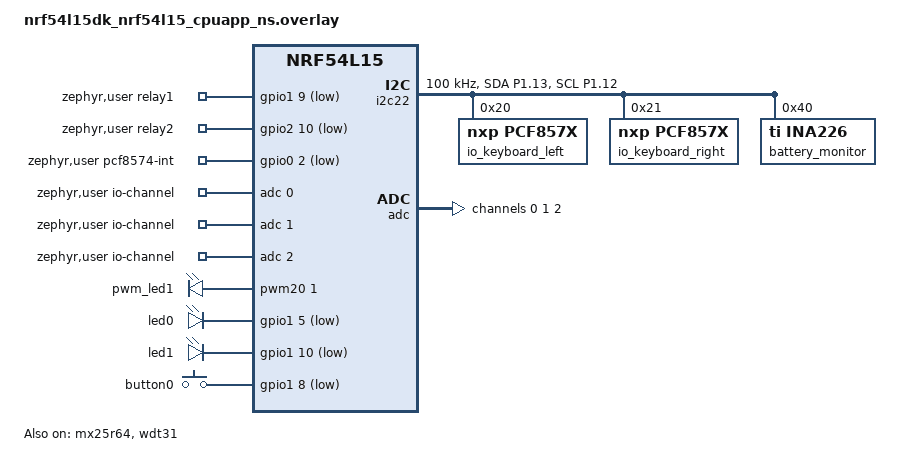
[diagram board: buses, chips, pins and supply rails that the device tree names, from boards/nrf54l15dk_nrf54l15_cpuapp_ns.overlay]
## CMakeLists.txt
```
#
# Copyright (c) 2023 Nordic Semiconductor
#
# SPDX-License-Identifier: LicenseRef-Nordic-5-Clause
#
cmake_minimum_required(VERSION 3.20.0)

find_package(Zephyr REQUIRED HINTS $ENV{ZEPHYR_BASE})
project(NONE)

# NORDIC SDK APP START
target_sources(app PRIVATE
  src/main.c
  src/battery_monitor.c
)

# NORDIC SDK APP END
```

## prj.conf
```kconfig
#
# Copyright (c) 2023 Nordic Semiconductor
#
# SPDX-License-Identifier: LicenseRef-Nordic-5-Clause
#
CONFIG_NCS_SAMPLES_DEFAULTS=y

CONFIG_BT=y
CONFIG_BT_PERIPHERAL=y
CONFIG_BT_DEVICE_NAME="Nordic_Status"

# Enable the LBS service
CONFIG_BT_NSMS=y
CONFIG_DK_LIBRARY=y

CONFIG_ADC=y

CONFIG_I2C=y
CONFIG_GPIO_PCF857X=y

# INA226 lead-acid battery charge monitor (current/voltage/power)
CONFIG_SENSOR=y
CONFIG_INA226=y

CONFIG_SYSTEM_WORKQUEUE_STACK_SIZE=2048

CONFIG_BT_FIXED_PASSKEY=y
```

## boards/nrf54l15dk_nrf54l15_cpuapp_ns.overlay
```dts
/*
 * Copyright (c) 2026 Nordic Semiconductor ASA
 *
 * SPDX-License-Identifier: LicenseRef-Nordic-5-Clause
 */

 / {
	aliases {
		// Configure PWM module for led1 (LED2 on the board)
		pwm-led1 = &pwm_led1;

		// Use watchdog wdt31 as the application watchdog
		watchdog0 = &wdt31;

		/* Two PCF8574 share INT# on P0.02 */
		pcf8574a-left = &io_keyboard_left;
		pcf8574a-right = &io_keyboard_right;

		/* INA226 lead-acid battery charge monitor on i2c22 */
		battery-monitor = &battery_monitor;
	};

	chosen {
		nordic,pm-ext-flash = &mx25r64;
	};

	/* Relay control pins - use zephyr,user node for custom GPIO configuration */
	zephyr,user {
		relay1-gpios = <&gpio1 9 GPIO_ACTIVE_LOW>;
		relay2-gpios = <&gpio2 10 GPIO_ACTIVE_LOW>;
	};

	pwmleds {
		compatible = "pwm-leds";
		pwm_led1: pwm_led_1 {
			pwms = <&pwm20 1 PWM_MSEC(20) PWM_POLARITY_NORMAL>;
		};
	};
};

// restore full RRAM and SRAM space - by default some parts are dedicated to FLRP
&cpuapp_rram {
	reg = <0x0 DT_SIZE_K(1524)>;
};

&cpuapp_sram {
	reg = <0x20000000 DT_SIZE_K(256)>;
	ranges = <0x0 0x20000000  0x40000>;
};

// TODO: re-enable HWFC once it's fixed
&uart20 {
	/delete-property/ hw-flow-control;
};

&mx25r64 {
	status = "okay";
};

&pwm20 {
	status = "disabled";
	pinctrl-0 = <&pwm_default>;
	pinctrl-1 = <&pwm_sleep>;
	pinctrl-names = "default", "sleep";
};

&pinctrl {
	pwm_default: pwm_default {
		group1 {
			psels = <NRF_PSEL(PWM_OUT1, 1, 10)>;
		};
	};
	pwm_sleep: pwm_sleep {
		group1 {
			psels = <NRF_PSEL(PWM_OUT1, 1, 10)>;
			low-power-enable;
		};
	};

	uart20_default: uart20_default {
		group1 {
			psels = <NRF_PSEL(UART_TX, 1, 4)>;
		};

		group2 {
			psels = <NRF_PSEL(UART_RX, 1, 5)>;
			bias-pull-up;
		};
	};

	uart20_sleep: uart20_sleep {
		group1 {
			psels = <NRF_PSEL(UART_TX, 1, 4)>,
				<NRF_PSEL(UART_RX, 1, 5)>;
			low-power-enable;
		};
	};
};

&wdt31 {
	status = "okay";
};

// Change IRQ ids to handle button interrupts.

// The default values for nRF54L15 are 219 and 269,
// but with TF-M they are reserved for the secure domain
// (218 and 268 are reserved for the non-secure domain).
&gpiote20 {
	interrupts = <218 NRF_DEFAULT_IRQ_PRIORITY>;
};

&gpiote30 {
	interrupts = <268 NRF_DEFAULT_IRQ_PRIORITY>;
};

&clock {
	status = "okay";
};


&led0 {
	gpios = <&gpio1 5 GPIO_ACTIVE_LOW>;
};
&led1 {
	gpios = <&gpio1 10 GPIO_ACTIVE_LOW>; /* P1.10 — avoid P1.07 (AIN3 / ADC CH1) */
};
/* Disable led2 and led3 since they are now used as relay control pins */
&led2 {
	status = "disabled";
};

&led3 {
	status = "disabled";
};

&button0 {
	gpios = <&gpio1 8 GPIO_ACTIVE_LOW>;
	status = "okay";
};


&button1 {
	status = "disabled";
};

&button2{
	status = "disabled";
};

&button3 {
	status = "disabled";
};

&pinctrl {
	i2c22_default: i2c22_default {
		group1 {
			psels = <NRF_PSEL(TWIM_SDA, 1, 13)>,
				<NRF_PSEL(TWIM_SCL, 1, 12)>;
			bias-pull-up;
		};
	};
	i2c22_sleep: i2c22_sleep {
		group1 {
			psels = <NRF_PSEL(TWIM_SDA, 1, 13)>,
				<NRF_PSEL(TWIM_SCL, 1, 12)>;
			low-power-enable;
			bias-pull-up;
		};
	};
};


&i2c22 {
	status = "okay";

	pinctrl-0 = <&i2c22_default>;
	pinctrl-1 = <&i2c22_sleep>;
	pinctrl-names = "default", "sleep";

	/*
	 * I2C addresses for PCF8574:
	 * - Left  : A2/A1/A0 = 000 -> 0x20
	 * - Right : A2/A1/A0 = 001 -> 0x21 (A0 tied to 3.3V)
	 */
	io_keyboard_left: io_keyboard_left@20 {
		compatible = "nxp,pcf857x";
		reg = <0x20>;
		gpio-controller;
		#gpio-cells = <2>;
		ngpios = <8>;
	};

	io_keyboard_right: io_keyboard_right@21 {
		compatible = "nxp,pcf857x";
		reg = <0x21>;
		gpio-controller;
		#gpio-cells = <2>;
		ngpios = <8>;
	};

	/*
	 * INA226 high-side current/power monitor for lead-acid battery charging.
	 * Default I2C address 0x40 (A0=A1=GND).
	 *
	 * Hardware: Rshunt = 20 mΩ.
	 *   Max shunt sense ±81.92 mV → Imax ≈ 81.92 mV / 20 mΩ ≈ ±4.1 A.
	 *   current-lsb = Imax / 2^15 ≈ 125 µA/LSB.
	 * Current sign depends on shunt wiring (IN+ vs IN-); positive is treated
	 * as charging in firmware. Swap IN+/IN- (or flip in code) if inverted.
	 */
	battery_monitor: ina226@40 {
		compatible = "ti,ina226";
		reg = <0x40>;
		current-lsb-microamps = <125>;
		rshunt-micro-ohms = <20000>;
		avg-count = <16>;
		vbus-conversion-time-us = <1100>;
		vshunt-conversion-time-us = <1100>;
		operating-mode = "Shunt and Bus, Continuous";
	};

	clock-frequency = <I2C_BITRATE_STANDARD>;
};



/ {
	zephyr,user {
		io-channels = <&adc 0>, <&adc 1>, <&adc 2>;
		/* Both PCF8574 INT# wired together -> MCU P0.02 (open-drain, active low) */
		pcf8574-int-gpios = <&gpio0 2 (GPIO_ACTIVE_LOW | GPIO_PULL_UP)>;
	};
};

/*
 * SAADC pin map (nRF54L15): AIN2=P1.06, AIN3=P1.07, AIN4=P1.11, AIN7=P1.14.
 * I2C22 uses P1.12 (AIN5) and P1.13 (AIN6) — do not use those for ADC.
 */
&adc {
	#address-cells = <1>;
	#size-cells = <0>;

	channel@0 {
		reg = <0>;
		zephyr,gain = "ADC_GAIN_1";
		zephyr,reference = "ADC_REF_INTERNAL";
		zephyr,acquisition-time = <ADC_ACQ_TIME_DEFAULT>;
		zephyr,input-positive = <NRF_SAADC_AIN4>; /* P1.11 */
		zephyr,resolution = <12>;
	};

	channel@1 {
		reg = <1>;
		zephyr,gain = "ADC_GAIN_1";
		zephyr,reference = "ADC_REF_INTERNAL";
		zephyr,acquisition-time = <ADC_ACQ_TIME_DEFAULT>;
		zephyr,input-positive = <NRF_SAADC_AIN2>; /* P1.06 */
		zephyr,input-negative = <NRF_SAADC_AIN3>; /* P1.07 */
		zephyr,resolution = <12>;
	};

	channel@2 {
		reg = <2>;
		zephyr,gain = "ADC_GAIN_1";
		zephyr,reference = "ADC_REF_INTERNAL";
		zephyr,acquisition-time = <ADC_ACQ_TIME_DEFAULT>;
		zephyr,input-positive = <NRF_SAADC_AIN7>; /* P1.14 */
		zephyr,resolution = <12>;
	};
};
```

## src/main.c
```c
/*
 * Copyright (c) 2023 Nordic Semiconductor ASA
 *
 * SPDX-License-Identifier: LicenseRef-Nordic-5-Clause
 */

#include <zephyr/types.h>
#include <stddef.h>
#include <string.h>
#include <errno.h>
#include <stdio.h>
#include <zephyr/sys/printk.h>
#include <zephyr/sys/byteorder.h>
#include <zephyr/kernel.h>
#include <zephyr/drivers/gpio.h>
#include <zephyr/drivers/i2c.h>
#include <zephyr/drivers/adc.h>
#include <zephyr/devicetree.h>
#include <soc.h>

#include <zephyr/bluetooth/bluetooth.h>
#include <zephyr/bluetooth/hci.h>
#include <zephyr/bluetooth/conn.h>
#include <zephyr/bluetooth/uuid.h>
#include <zephyr/bluetooth/gatt.h>

#include <zephyr/settings/settings.h>

#include <dk_buttons_and_leds.h>

#include "battery_monitor.h"

#define DEVICE_NAME             CONFIG_BT_DEVICE_NAME
#define DEVICE_NAME_LEN         (sizeof(DEVICE_NAME) - 1)

#define RUN_STATUS_LED          DK_LED1
#define CON_STATUS_LED          DK_LED2
#define RUN_LED_BLINK_INTERVAL  1000
#define ADC_SAMPLE_INTERVAL_MS  1000
#define BATTERY_SAMPLE_INTERVAL_MS 1000
#define FIXED_PASSKEY           123456

#define STATUS1_BUTTON          DK_BTN1_MSK
#define STATUS2_BUTTON          DK_BTN2_MSK

/* Custom service UUID — same base as NSMS but different instance IDs */
#define MY_SERVICE_UUID_VAL \
	BT_UUID_128_ENCODE(0x57a70000, 0x9350, 0x11ed, 0xa1eb, 0x0242ac120002)

/* Single status characteristic UUID */
#define MY_STATUS_CHAR_UUID_VAL \
	BT_UUID_128_ENCODE(0x57a70006, 0x9350, 0x11ed, 0xa1eb, 0x0242ac120002)

/* Advertising data — use custom service UUID */
static const struct bt_uuid_128 adv_uuid = BT_UUID_INIT_128(MY_SERVICE_UUID_VAL);

/* Status buffer and mutex for the single characteristic */
static char status_buf[256];
static K_MUTEX_DEFINE(status_mtx);

/* Custom GATT service with one characteristic for all status updates */
static ssize_t my_status_read(struct bt_conn *conn,
			      const struct bt_gatt_attr *attr,
			      void *buf, uint16_t len, uint16_t offset)
{
	ssize_t ret;

	k_mutex_lock(&status_mtx, K_MSEC(100));
	ret = bt_gatt_attr_read(conn, attr, buf, len, offset,
				status_buf, strlen(status_buf));
	k_mutex_unlock(&status_mtx);
	return ret;
}

BT_GATT_SERVICE_DEFINE(my_svc,
	BT_GATT_PRIMARY_SERVICE(BT_UUID_DECLARE_128(MY_SERVICE_UUID_VAL)),
	BT_GATT_CHARACTERISTIC(BT_UUID_DECLARE_128(MY_STATUS_CHAR_UUID_VAL),
			       BT_GATT_CHRC_READ | BT_GATT_CHRC_NOTIFY,
			       BT_GATT_PERM_READ,
			       my_status_read, NULL,
			       (void *)status_buf),
	BT_GATT_CCC(NULL, BT_GATT_PERM_READ | BT_GATT_PERM_WRITE),
);

/* Send a status notification to all connected peers */
static void send_status_update(const char *str)
{
	k_mutex_lock(&status_mtx, K_MSEC(100));
	strncpy(status_buf, str, sizeof(status_buf) - 1);
	status_buf[sizeof(status_buf) - 1] = '\0';
	k_mutex_unlock(&status_mtx);

	bt_gatt_notify(NULL, &my_svc.attrs[1], str, strlen(str));
}

static struct k_work adv_work;

#if DT_NODE_HAS_PROP(DT_PATH(zephyr_user), io_channels)
#define ADC_STATUS_ENABLED 1
#define ADC_CHANNEL_COUNT 3
static const struct adc_dt_spec adc_channels[ADC_CHANNEL_COUNT] = {
	ADC_DT_SPEC_GET_BY_IDX(DT_PATH(zephyr_user), 0),
	ADC_DT_SPEC_GET_BY_IDX(DT_PATH(zephyr_user), 1),
	ADC_DT_SPEC_GET_BY_IDX(DT_PATH(zephyr_user), 2),
};
static struct k_work_delayable adc_work;
static int16_t adc_samples[ADC_CHANNEL_COUNT];
static char adc_status_buf[ADC_CHANNEL_COUNT][32];
#else
#define ADC_STATUS_ENABLED 0
#endif

static const struct bt_data ad[] = {
	BT_DATA_BYTES(BT_DATA_FLAGS, (BT_LE_AD_GENERAL | BT_LE_AD_NO_BREDR)),
	BT_DATA(BT_DATA_NAME_COMPLETE, DEVICE_NAME, DEVICE_NAME_LEN),
};

static const struct bt_data sd[] = {
	BT_DATA_BYTES(BT_DATA_UUID128_ALL, MY_SERVICE_UUID_VAL),
};

static void adv_work_handler(struct k_work *work)
{
	int err = bt_le_adv_start(BT_LE_ADV_CONN_FAST_2, ad, ARRAY_SIZE(ad), sd, ARRAY_SIZE(sd));

	if (err) {
		printk("Advertising failed to start (err %d)\n", err);
		return;
	}

	printk("Advertising successfully started\n");
}

static void advertising_start(void)
{
	k_work_submit(&adv_work);
}

static void connected(struct bt_conn *conn, uint8_t err)
{
	if (err) {
		printk("Connection failed, err 0x%02x %s\n", err, bt_hci_err_to_str(err));
		return;
	}

	printk("Connected\n");
	dk_set_led_on(CON_STATUS_LED);
}

static void disconnected(struct bt_conn *conn, uint8_t reason)
{
	printk("Disconnected, reason 0x%02x %s\n", reason, bt_hci_err_to_str(reason));
	dk_set_led_off(CON_STATUS_LED);
}

static void recycled_cb(void)
{
	printk("Connection object available from previous conn. Disconnect is complete!\n");
	advertising_start();
}

BT_CONN_CB_DEFINE(conn_callbacks) = {
	.connected    = connected,
	.disconnected = disconnected,
	.recycled     = recycled_cb,
};

static void button_changed(uint32_t button_state, uint32_t has_changed)
{
	/* Send combined button state in one notification */
	char msg[64];
	const char *btn1 = (button_state & STATUS1_BUTTON) ? "Pressed" : "Released";
	const char *btn2 = (button_state & STATUS2_BUTTON) ? "Pressed" : "Released";
	snprintf(msg, sizeof(msg), "BTN1 %s\nBTN2 %s", btn1, btn2);
	send_status_update(msg);
}

static int init_button(void)
{
	int err;

	err = dk_buttons_init(button_changed);
	if (err) {
		printk("Cannot init buttons (err: %d)\n", err);
	}

	return err;
}

#if DT_HAS_ALIAS(pcf8574a_left) && DT_HAS_ALIAS(pcf8574a_right)
#define PCF8574_INT_ENABLED 1
#define PCF_DEV_COUNT 2
enum {
	PCF_LEFT = 0,
	PCF_RIGHT = 1,
};

static const struct device *const pcf_devs[PCF_DEV_COUNT] = {
	DEVICE_DT_GET(DT_ALIAS(pcf8574a_left)),
	DEVICE_DT_GET(DT_ALIAS(pcf8574a_right)),
};
static const struct i2c_dt_spec pcf_i2c[PCF_DEV_COUNT] = {
	I2C_DT_SPEC_GET(DT_ALIAS(pcf8574a_left)),
	I2C_DT_SPEC_GET(DT_ALIAS(pcf8574a_right)),
};
static const char *const pcf_names[PCF_DEV_COUNT] = {
	"PCF_L",
	"PCF_R",
};
/* Shared INT# from both PCF8574 chips -> P0.02 (active low, open-drain). */
static const struct gpio_dt_spec pcf_shared_int =
	GPIO_DT_SPEC_GET(DT_PATH(zephyr_user), pcf8574_int_gpios);
static struct gpio_callback pcf_int_cb;
static struct k_work pcf_shared_work;
static uint8_t pcf_last_state[PCF_DEV_COUNT];
static bool pcf_last_valid[PCF_DEV_COUNT];

/*
 * PCF8574 is quasi-bidirectional: write 0xFF to release all pins (input-high).
 * Use I2C directly so pcf857x driver keeps pins as "input" and gpio_port_get_raw()
 * still works (it returns -EOPNOTSUPP if pins are marked output in the driver).
 */
static int pcf8574_preset_inputs(const struct i2c_dt_spec *i2c, const char *name)
{
	uint8_t val = 0xFF;
	int err;

	if (!device_is_ready(i2c->bus)) {
		printk("%s I2C bus not ready\n", name);
		return -ENODEV;
	}

	err = i2c_write_dt(i2c, &val, 1);
	if (err) {
		printk("%s preset 0xFF failed (err %d)\n", name, err);
	}

	return err;
}

static void pcf8574a_work_handler(struct k_work *work)
{
	ARG_UNUSED(work);
	gpio_port_value_t port_val;
	char msg[128];
	char *p = msg;
	bool has_change = false;
	int err;

	for (size_t i = 0; i < PCF_DEV_COUNT; i++) {
		uint8_t cur_state;
		uint8_t changed_mask;

		err = gpio_port_get_raw(pcf_devs[i], &port_val);
		if (err) {
			printk("%s read failed (err %d)\n", pcf_names[i], err);
			continue;
		}

		cur_state = (uint8_t)port_val;
		if (!pcf_last_valid[i]) {
			pcf_last_state[i] = cur_state;
			pcf_last_valid[i] = true;
			continue;
		}

		changed_mask = cur_state ^ pcf_last_state[i];
		if (changed_mask == 0U) {
			continue;
		}

		pcf_last_state[i] = cur_state;
		has_change = true;
		p += snprintf(p, sizeof(msg) - (size_t)(p - msg),
			      "%s 0x%02x mask 0x%02x\n", pcf_names[i], cur_state, changed_mask);
	}
	if (has_change) {
		printk("%s", msg);
		send_status_update(msg);
	}
}

static void pcf_int_mcu_handler(const struct device *port, struct gpio_callback *cb,
				uint32_t pins)
{
	ARG_UNUSED(port);
	ARG_UNUSED(cb);
	ARG_UNUSED(pins);

	k_work_submit(&pcf_shared_work);
}

static int init_pcf8574_int(void)
{
	int err;
	gpio_port_value_t port_val;

	k_work_init(&pcf_shared_work, pcf8574a_work_handler);

	for (size_t i = 0; i < PCF_DEV_COUNT; i++) {
		pcf_last_valid[i] = false;

		if (!device_is_ready(pcf_devs[i])) {
			printk("%s device not ready\n", pcf_names[i]);
			return -ENODEV;
		}

		err = pcf8574_preset_inputs(&pcf_i2c[i], pcf_names[i]);
		if (err) {
			return err;
		}

		err = gpio_port_get_raw(pcf_devs[i], &port_val);
		if (err) {
			printk("%s initial read failed (err %d)\n", pcf_names[i], err);
			return err;
		}

		pcf_last_state[i] = (uint8_t)port_val;
		pcf_last_valid[i] = true;
		printk("%s init OK, port=0x%02x\n", pcf_names[i], pcf_last_state[i]);
	}

	if (!gpio_is_ready_dt(&pcf_shared_int)) {
		printk("PCF8574 shared INT GPIO not ready\n");
		return -ENODEV;
	}

	err = gpio_pin_configure_dt(&pcf_shared_int, GPIO_INPUT);
	if (err) {
		printk("PCF8574 INT configure failed (err %d)\n", err);
		return err;
	}

	/* INT# is active-low open-drain: trigger on falling edge. */
	err = gpio_pin_interrupt_configure_dt(&pcf_shared_int, GPIO_INT_EDGE_FALLING);
	if (err) {
		printk("PCF8574 INT IRQ configure failed (err %d)\n", err);
		return err;
	}

	gpio_init_callback(&pcf_int_cb, pcf_int_mcu_handler, BIT(pcf_shared_int.pin));
	err = gpio_add_callback(pcf_shared_int.port, &pcf_int_cb);
	if (err) {
		printk("PCF8574 INT callback add failed (err %d)\n", err);
		return err;
	}

	printk("PCF8574 shared INT ready on %s pin %u\n",
	       pcf_shared_int.port->name, pcf_shared_int.pin);

	return 0;
}
#else
static int init_pcf8574_int(void)
{
	return 0;
}
#endif

#if ADC_STATUS_ENABLED
static void update_adc_status(size_t index)
{
	const struct adc_dt_spec *adc_channel = &adc_channels[index];
	struct adc_sequence sequence = { 0 };
	int32_t sample_mv;
	int err;

	err = adc_sequence_init_dt(adc_channel, &sequence);
	if (err) {
		snprintk(adc_status_buf[index], sizeof(adc_status_buf[index]),
			 "CH%u init err %d", adc_channel->channel_id, err);
		return;
	}

	sequence.buffer = &adc_samples[index];
	sequence.buffer_size = sizeof(adc_samples[index]);

	err = adc_read_dt(adc_channel, &sequence);
	if (err) {
		snprintk(adc_status_buf[index], sizeof(adc_status_buf[index]),
			 "CH%u read err %d", adc_channel->channel_id, err);
		return;
	}

	sample_mv = adc_samples[index];
	err = adc_raw_to_millivolts_dt(adc_channel, &sample_mv);
	if (err) {
		snprintk(adc_status_buf[index], sizeof(adc_status_buf[index]),
			 "CH%u raw %d", adc_channel->channel_id, adc_samples[index]);
	} else {
		snprintk(adc_status_buf[index], sizeof(adc_status_buf[index]),
			 "CH%u %d mV", adc_channel->channel_id, sample_mv);
	}
}

static void adc_work_handler(struct k_work *work)
{
	char msg[128];
	char *p = msg;

	for (size_t i = 0; i < ADC_CHANNEL_COUNT; i++) {
		update_adc_status(i);
		p += snprintf(p, sizeof(msg) - (p - msg), "%s\n", adc_status_buf[i]);
	}

	send_status_update(msg);
	k_work_schedule(&adc_work, K_MSEC(ADC_SAMPLE_INTERVAL_MS));
}

static int init_adc(void)
{
	int err;

	if (!adc_is_ready_dt(&adc_channels[0])) {
		printk("ADC controller device not ready\n");
		return -ENODEV;
	}

	for (size_t i = 0; i < ADC_CHANNEL_COUNT; i++) {
		err = adc_channel_setup_dt(&adc_channels[i]);
		if (err) {
			printk("Failed to setup ADC channel %u (err %d)\n",
			       adc_channels[i].channel_id, err);
			return err;
		}

		printk("ADC channel %u initialized\n", adc_channels[i].channel_id);
	}

	k_work_init_delayable(&adc_work, adc_work_handler);

	return 0;
}

static void adc_sampling_start(void)
{
	k_work_schedule(&adc_work, K_NO_WAIT);
}
#else
static int init_adc(void)
{
	printk("No ADC channel configured in devicetree\n");
	return 0;
}

static void adc_sampling_start(void)
{
}
#endif

/*
 * INA226 battery monitor: sample voltage/current/power once a second and push
 * the result as text lines the mobile app parses:
 *   BAT_V <volts>\nBAT_I <amps>\nBAT_P <watts>\nBAT_ST <charging|discharging|idle>
 */
static struct k_work_delayable battery_work;

static void fmt_milli(char *buf, size_t size, int32_t milli)
{
	int32_t whole = milli / 1000;
	int32_t frac = milli % 1000;

	if (frac < 0) {
		frac = -frac;
	}

	/* Preserve the sign when the integer part rounds to zero (e.g. -0.250). */
	if (milli < 0 && whole == 0) {
		snprintf(buf, size, "-0.%03d", frac);
	} else {
		snprintf(buf, size, "%d.%03d", whole, frac);
	}
}

static void battery_work_handler(struct k_work *work)
{
	struct battery_reading reading;
	char vbuf[16];
	char ibuf[16];
	char pbuf[16];
	char msg[96];
	int err;

	ARG_UNUSED(work);

	err = battery_monitor_read(&reading);
	if (err) {
		printk("Battery read failed (err %d)\n", err);
		k_work_schedule(&battery_work, K_MSEC(BATTERY_SAMPLE_INTERVAL_MS));
		return;
	}

	fmt_milli(vbuf, sizeof(vbuf), reading.voltage_mv);
	fmt_milli(ibuf, sizeof(ibuf), reading.current_ma);
	fmt_milli(pbuf, sizeof(pbuf), reading.power_mw);

	snprintf(msg, sizeof(msg), "BAT_V %s\nBAT_I %s\nBAT_P %s\nBAT_ST %s",
		 vbuf, ibuf, pbuf,
		 battery_state_str(battery_monitor_state(&reading)));

	send_status_update(msg);
	k_work_schedule(&battery_work, K_MSEC(BATTERY_SAMPLE_INTERVAL_MS));
}

static void init_battery_monitor(void)
{
	/*
	 * The battery monitor is optional hardware. If the INA226 is absent or
	 * fails to probe, log it and continue — it must never block Bluetooth.
	 */
	int err = battery_monitor_init();

	if (err || !battery_monitor_available()) {
		printk("Battery monitor unavailable (err %d) — continuing without it\n", err);
		return;
	}

	k_work_init_delayable(&battery_work, battery_work_handler);
}

static void battery_sampling_start(void)
{
	if (battery_monitor_available()) {
		k_work_schedule(&battery_work, K_NO_WAIT);
	}
}

int main(void)
{
	int blink_status = 0;
	int err;

	printk("Starting Bluetooth Peripheral Status sample\n");

	err = dk_leds_init();
	if (err) {
		printk("LEDs init failed (err %d)\n", err);
		return 0;
	}

	err = init_button();
	if (err) {
		printk("Button init failed (err %d)\n", err);
		return 0;
	}

	/*
	 * PCF8574 IO expanders are optional. If they are absent or fail to
	 * probe, log it and continue — they must never block Bluetooth.
	 */
	err = init_pcf8574_int();
	if (err) {
		printk("PCF8574 unavailable (err %d) — continuing without it\n", err);
	}

	err = init_adc();
	if (err) {
		printk("ADC init failed (err %d)\n", err);
		return 0;
	}

	init_battery_monitor();

	err = bt_enable(NULL);
	if (err) {
		printk("Bluetooth init failed (err %d)\n", err);
		return 0;
	}

	printk("Bluetooth initialized\n");

	if (IS_ENABLED(CONFIG_BT_FIXED_PASSKEY)) {
		err = bt_passkey_set(FIXED_PASSKEY);
		if (err) {
			printk("Failed to set fixed passkey (err %d)\n", err);
			return 0;
		}

		printk("Fixed passkey set: %06u\n", FIXED_PASSKEY);
	}

	if (IS_ENABLED(CONFIG_SETTINGS)) {
		settings_load();
	}

	k_work_init(&adv_work, adv_work_handler);
	advertising_start();
	adc_sampling_start();
	battery_sampling_start();

	for (;;) {
		dk_set_led(RUN_STATUS_LED, (++blink_status) % 2);
		k_sleep(K_MSEC(RUN_LED_BLINK_INTERVAL));
	}
}
```

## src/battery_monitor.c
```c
/*
 * Copyright (c) 2026 Nordic Semiconductor ASA
 *
 * SPDX-License-Identifier: LicenseRef-Nordic-5-Clause
 */

#include "battery_monitor.h"

#include <errno.h>
#include <zephyr/device.h>
#include <zephyr/devicetree.h>
#include <zephyr/drivers/sensor.h>
#include <zephyr/sys/printk.h>
#include <zephyr/sys/util.h>

/* Deadband around 0 A so sensor noise does not toggle the charge state. */
#define BATTERY_CHARGE_THRESHOLD_MA 30

#if DT_HAS_ALIAS(battery_monitor)

static const struct device *const batt_dev = DEVICE_DT_GET(DT_ALIAS(battery_monitor));

bool battery_monitor_available(void)
{
	return device_is_ready(batt_dev);
}

int battery_monitor_init(void)
{
	if (!device_is_ready(batt_dev)) {
		printk("INA226 battery monitor not ready\n");
		return -ENODEV;
	}

	printk("INA226 battery monitor ready (%s)\n", batt_dev->name);
	return 0;
}

int battery_monitor_read(struct battery_reading *out)
{
	struct sensor_value val;
	int err;

	if (out == NULL) {
		return -EINVAL;
	}

	err = sensor_sample_fetch(batt_dev);
	if (err) {
		return err;
	}

	err = sensor_channel_get(batt_dev, SENSOR_CHAN_VOLTAGE, &val);
	if (err) {
		return err;
	}
	out->voltage_mv = (int32_t)sensor_value_to_milli(&val);

	err = sensor_channel_get(batt_dev, SENSOR_CHAN_CURRENT, &val);
	if (err) {
		return err;
	}
	out->current_ma = (int32_t)sensor_value_to_milli(&val);

	err = sensor_channel_get(batt_dev, SENSOR_CHAN_POWER, &val);
	if (err) {
		return err;
	}
	out->power_mw = (int32_t)sensor_value_to_milli(&val);

	return 0;
}

#else /* No INA226 in devicetree */

bool battery_monitor_available(void)
{
	return false;
}

int battery_monitor_init(void)
{
	printk("No INA226 battery monitor in devicetree\n");
	return 0;
}

int battery_monitor_read(struct battery_reading *out)
{
	ARG_UNUSED(out);
	return -ENODEV;
}

#endif /* DT_HAS_ALIAS(battery_monitor) */

enum battery_charge_state battery_monitor_state(const struct battery_reading *r)
{
	if (r == NULL) {
		return BATTERY_STATE_IDLE;
	}

	if (r->current_ma > BATTERY_CHARGE_THRESHOLD_MA) {
		return BATTERY_STATE_CHARGING;
	}

	if (r->current_ma < -BATTERY_CHARGE_THRESHOLD_MA) {
		return BATTERY_STATE_DISCHARGING;
	}

	return BATTERY_STATE_IDLE;
}

const char *battery_state_str(enum battery_charge_state state)
{
	switch (state) {
	case BATTERY_STATE_CHARGING:
		return "charging";
	case BATTERY_STATE_DISCHARGING:
		return "discharging";
	default:
		return "idle";
	}
}
```

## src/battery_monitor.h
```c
/*
 * Copyright (c) 2026 Nordic Semiconductor ASA
 *
 * SPDX-License-Identifier: LicenseRef-Nordic-5-Clause
 *
 * INA226-based lead-acid battery charge monitor interface.
 */

#ifndef BATTERY_MONITOR_H_
#define BATTERY_MONITOR_H_

#include <stdbool.h>
#include <stdint.h>

/** One battery measurement snapshot. */
struct battery_reading {
	int32_t voltage_mv;   /* Bus voltage, millivolts (always >= 0). */
	int32_t current_ma;   /* Signed current; > 0 = charging (per wiring). */
	int32_t power_mw;     /* Power magnitude, milliwatts. */
};

enum battery_charge_state {
	BATTERY_STATE_IDLE = 0,
	BATTERY_STATE_CHARGING,
	BATTERY_STATE_DISCHARGING,
};

/** True when an INA226 exists in the devicetree and the device is ready. */
bool battery_monitor_available(void);

/** Probe and initialize the INA226. Returns 0 on success (or when absent). */
int battery_monitor_init(void);

/** Fetch a fresh voltage/current/power sample. Returns 0 on success. */
int battery_monitor_read(struct battery_reading *out);

/** Derive charge state from the signed current. */
enum battery_charge_state battery_monitor_state(const struct battery_reading *r);

/** Human-readable charge state ("charging" / "discharging" / "idle"). */
const char *battery_state_str(enum battery_charge_state state);

#endif /* BATTERY_MONITOR_H_ */
```
